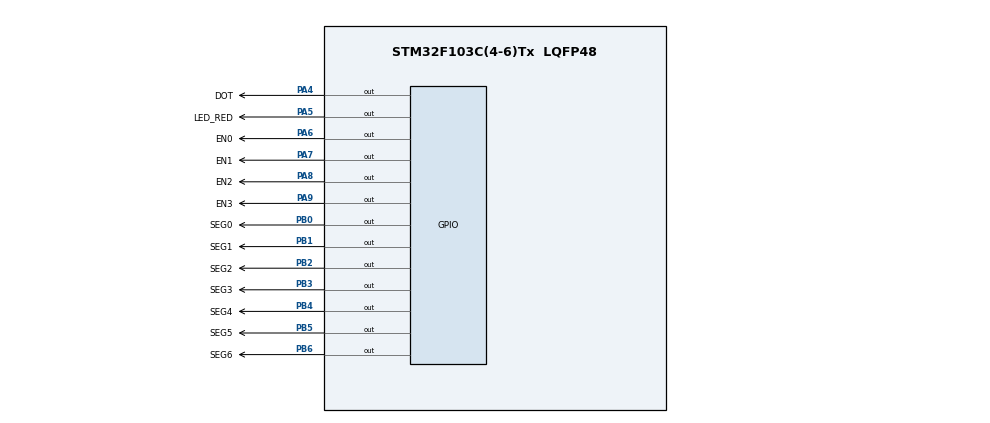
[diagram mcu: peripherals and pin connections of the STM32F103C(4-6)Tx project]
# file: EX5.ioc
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Mcu.Family=STM32F1
Mcu.Name=STM32F103C(4-6)Tx
Mcu.Package=LQFP48
NVIC.PriorityGroup=NVIC_PRIORITYGROUP_4
NVIC.TIM2_IRQn=true\:0\:0\:false\:false\:true\:true\:true\:true
PA4.GPIO_Label=DOT
PA4.Signal=GPIO_Output
PA5.GPIO_Label=LED_RED
PA5.Signal=GPIO_Output
PA6.GPIO_Label=EN0
PA6.Signal=GPIO_Output
PA7.GPIO_Label=EN1
PA7.Signal=GPIO_Output
PA8.GPIO_Label=EN2
PA8.Signal=GPIO_Output
PA9.GPIO_Label=EN3
PA9.Signal=GPIO_Output
PB0.GPIO_Label=SEG0
PB0.Signal=GPIO_Output
PB1.GPIO_Label=SEG1
PB1.Signal=GPIO_Output
PB2.GPIO_Label=SEG2
PB2.Signal=GPIO_Output
PB3.GPIO_Label=SEG3
PB3.Signal=GPIO_Output
PB4.GPIO_Label=SEG4
PB4.Signal=GPIO_Output
PB5.GPIO_Label=SEG5
PB5.Signal=GPIO_Output
PB6.GPIO_Label=SEG6
PB6.Signal=GPIO_Output
ProjectManager.HeapSize=0x200
ProjectManager.StackSize=0x400
ProjectManager.TargetToolchain=STM32CubeIDE
RCC.APB1Freq_Value=8000000
RCC.APB2Freq_Value=8000000
TIM2.Period=9
TIM2.Prescaler=7999
VP_TIM2_VS_ClockSourceINT.Mode=Internal
board=custom

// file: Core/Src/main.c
/* USER CODE BEGIN Header */
/**
  ******************************************************************************
  * @file           : main.c
  * @brief          : Main program body
  ******************************************************************************
  * @attention
  *
  * Copyright (c) 2023 STMicroelectronics.
  * All rights reserved.
  *
  * This software is licensed under terms that can be found in the LICENSE file
  * in the root directory of this software component.
  * If no LICENSE file comes with this software, it is provided AS-IS.
  *
  ******************************************************************************
  */
/* USER CODE END Header */
#include "main.h"

TIM_HandleTypeDef htim2;

void SystemClock_Config(void);
static void MX_GPIO_Init(void);
static void MX_TIM2_Init(void);

/* USER CODE BEGIN 0 */
// Define the pins for each segment (PB0 to PB6)
const uint8_t sevenSegPatterns[10] = {
    0b00111111, // 0
    0b00000110, // 1
    0b01011011, // 2
    0b01001111, // 3
    0b01100110, // 4
    0b01101101, // 5
    0b01111101, // 6
    0b00000111, // 7
    0b01111111, // 8
    0b01101111  // 9
};

void display7SEG(int digit) {
    // Set the appropriate pins based on the digit pattern
    HAL_GPIO_WritePin(GPIOB, GPIO_PIN_0, ((sevenSegPatterns[digit] >> 0) & 1) ^ 1);
    HAL_GPIO_WritePin(GPIOB, GPIO_PIN_1, ((sevenSegPatterns[digit] >> 1) & 1) ^ 1);
    HAL_GPIO_WritePin(GPIOB, GPIO_PIN_2, ((sevenSegPatterns[digit] >> 2) & 1) ^ 1);
    HAL_GPIO_WritePin(GPIOB, GPIO_PIN_3, ((sevenSegPatterns[digit] >> 3) & 1) ^ 1);
    HAL_GPIO_WritePin(GPIOB, GPIO_PIN_4, ((sevenSegPatterns[digit] >> 4) & 1) ^ 1);
    HAL_GPIO_WritePin(GPIOB, GPIO_PIN_5, ((sevenSegPatterns[digit] >> 5) & 1) ^ 1);
    HAL_GPIO_WritePin(GPIOB, GPIO_PIN_6, ((sevenSegPatterns[digit] >> 6) & 1) ^ 1);
}

//EX 3:
const int MAX_LED = 4;
int index_led = 0;
int led_buffer [4] = {1 , 2 , 3 , 4};
void update7SEG (int index){
	switch (index){
	case 0:
		// Display the first 7 SEG with led_buffer [0]
		HAL_GPIO_WritePin(GPIOA, GPIO_PIN_6, 0);
		HAL_GPIO_WritePin(GPIOA, GPIO_PIN_7, 1);
		HAL_GPIO_WritePin(GPIOA, GPIO_PIN_8, 1);
		HAL_GPIO_WritePin(GPIOA, GPIO_PIN_9, 1);
		display7SEG(led_buffer[index]);
		break ;
	case 1:
		// Display the first 7 SEG with led_buffer [1]
		HAL_GPIO_WritePin(GPIOA, GPIO_PIN_6, 1);
		HAL_GPIO_WritePin(GPIOA, GPIO_PIN_7, 0);
		HAL_GPIO_WritePin(GPIOA, GPIO_PIN_8, 1);
		HAL_GPIO_WritePin(GPIOA, GPIO_PIN_9, 1);
		display7SEG(led_buffer[index]);
		break ;
	case 2:
		// Display the first 7 SEG with led_buffer [2]
		HAL_GPIO_WritePin(GPIOA, GPIO_PIN_6, 1);
		HAL_GPIO_WritePin(GPIOA, GPIO_PIN_7, 1);
		HAL_GPIO_WritePin(GPIOA, GPIO_PIN_8, 0);
		HAL_GPIO_WritePin(GPIOA, GPIO_PIN_9, 1);
		display7SEG(led_buffer[index]);
		break ;
	case 3:
		HAL_GPIO_WritePin(GPIOA, GPIO_PIN_6, 1);
		HAL_GPIO_WritePin(GPIOA, GPIO_PIN_7, 1);
		HAL_GPIO_WritePin(GPIOA, GPIO_PIN_8, 1);
		HAL_GPIO_WritePin(GPIOA, GPIO_PIN_9, 0);
		display7SEG(led_buffer[index]);
		// Display the first 7 SEG with led_buffer [3]
		break ;
	default:
		break;
	}
}

//EX5
void updateClockBuffer(){
	led_buffer[0] = hour / 10;
	led_buffer[1] = hour % 10;
	led_buffer[2] = minute / 10;
	led_buffer[3] = minute % 10;
}
/* USER CODE END 0 */

int main(void)
{

  /* MCU Configuration--------------------------------------------------------*/

  /* Reset of all peripherals, Initializes the Flash interface and the Systick. */
  HAL_Init();

  /* Configure the system clock */
  SystemClock_Config();

  /* Initialize all configured peripherals */
  MX_GPIO_Init();
  MX_TIM2_Init();
  /* USER CODE BEGIN 2 */
  HAL_TIM_Base_Start_IT(&htim2);
  /* USER CODE END 2 */

  /* Infinite loop */
  /* USER CODE BEGIN WHILE */
  int hour = 15 , minute = 8 , second = 50;
  while (1)
  {
	  second ++;
	  if ( second >= 60){
		  second = 0;
		  minute ++;
	  }
	  if( minute >= 60){
		  minute = 0;
		  hour ++;
	  }
	  if( hour >=24){
		  hour = 0;
	  }
	  updateClockBuffer();
	  HAL_Delay (1000);
    /* USER CODE END WHILE */

  }
}

void SystemClock_Config(void)
{
  RCC_OscInitTypeDef RCC_OscInitStruct = {0};
  RCC_ClkInitTypeDef RCC_ClkInitStruct = {0};

  /** Initializes the RCC Oscillators according to the specified parameters
  * in the RCC_OscInitTypeDef structure.
  */
  RCC_OscInitStruct.OscillatorType = RCC_OSCILLATORTYPE_HSI;
  RCC_OscInitStruct.HSIState = RCC_HSI_ON;
  RCC_OscInitStruct.HSICalibrationValue = RCC_HSICALIBRATION_DEFAULT;
  RCC_OscInitStruct.PLL.PLLState = RCC_PLL_NONE;
  if (HAL_RCC_OscConfig(&RCC_OscInitStruct) != HAL_OK)
  {
    Error_Handler();
  }

  /** Initializes the CPU, AHB and APB buses clocks
  */
  RCC_ClkInitStruct.ClockType = RCC_CLOCKTYPE_HCLK|RCC_CLOCKTYPE_SYSCLK
                              |RCC_CLOCKTYPE_PCLK1|RCC_CLOCKTYPE_PCLK2;
  RCC_ClkInitStruct.SYSCLKSource = RCC_SYSCLKSOURCE_HSI;
  RCC_ClkInitStruct.AHBCLKDivider = RCC_SYSCLK_DIV1;
  RCC_ClkInitStruct.APB1CLKDivider = RCC_HCLK_DIV1;
  RCC_ClkInitStruct.APB2CLKDivider = RCC_HCLK_DIV1;

  if (HAL_RCC_ClockConfig(&RCC_ClkInitStruct, FLASH_LATENCY_0) != HAL_OK)
  {
    Error_Handler();
  }
}

static void MX_TIM2_Init(void)
{

  TIM_ClockConfigTypeDef sClockSourceConfig = {0};
  TIM_MasterConfigTypeDef sMasterConfig = {0};

  htim2.Instance = TIM2;
  htim2.Init.Prescaler = 7999;
  htim2.Init.CounterMode = TIM_COUNTERMODE_UP;
  htim2.Init.Period = 9;
  htim2.Init.ClockDivision = TIM_CLOCKDIVISION_DIV1;
  htim2.Init.AutoReloadPreload = TIM_AUTORELOAD_PRELOAD_DISABLE;
  if (HAL_TIM_Base_Init(&htim2) != HAL_OK)
  {
    Error_Handler();
  }
  sClockSourceConfig.ClockSource = TIM_CLOCKSOURCE_INTERNAL;
  if (HAL_TIM_ConfigClockSource(&htim2, &sClockSourceConfig) != HAL_OK)
  {
    Error_Handler();
  }
  sMasterConfig.MasterOutputTrigger = TIM_TRGO_RESET;
  sMasterConfig.MasterSlaveMode = TIM_MASTERSLAVEMODE_DISABLE;
  if (HAL_TIMEx_MasterConfigSynchronization(&htim2, &sMasterConfig) != HAL_OK)
  {
    Error_Handler();
  }

}

static void MX_GPIO_Init(void)
{
  GPIO_InitTypeDef GPIO_InitStruct = {0};

  /* GPIO Ports Clock Enable */
  __HAL_RCC_GPIOA_CLK_ENABLE();
  __HAL_RCC_GPIOB_CLK_ENABLE();

  /*Configure GPIO pin Output Level */
  HAL_GPIO_WritePin(GPIOA, DOT_Pin|LED_RED_Pin|EN0_Pin|EN1_Pin
                          |EN2_Pin|EN3_Pin, GPIO_PIN_RESET);

  /*Configure GPIO pin Output Level */
  HAL_GPIO_WritePin(GPIOB, SEG0_Pin|SEG1_Pin|SEG2_Pin|SEG3_Pin
                          |SEG4_Pin|SEG5_Pin|SEG6_Pin, GPIO_PIN_RESET);

  /*Configure GPIO pins : DOT_Pin LED_RED_Pin EN0_Pin EN1_Pin
                           EN2_Pin EN3_Pin */
  GPIO_InitStruct.Pin = DOT_Pin|LED_RED_Pin|EN0_Pin|EN1_Pin
                          |EN2_Pin|EN3_Pin;
  GPIO_InitStruct.Mode = GPIO_MODE_OUTPUT_PP;
  GPIO_InitStruct.Pull = GPIO_NOPULL;
  GPIO_InitStruct.Speed = GPIO_SPEED_FREQ_LOW;
  HAL_GPIO_Init(GPIOA, &GPIO_InitStruct);

  /*Configure GPIO pins : SEG0_Pin SEG1_Pin SEG2_Pin SEG3_Pin
                           SEG4_Pin SEG5_Pin SEG6_Pin */
  GPIO_InitStruct.Pin = SEG0_Pin|SEG1_Pin|SEG2_Pin|SEG3_Pin
                          |SEG4_Pin|SEG5_Pin|SEG6_Pin;
  GPIO_InitStruct.Mode = GPIO_MODE_OUTPUT_PP;
  GPIO_InitStruct.Pull = GPIO_NOPULL;
  GPIO_InitStruct.Speed = GPIO_SPEED_FREQ_LOW;
  HAL_GPIO_Init(GPIOB, &GPIO_InitStruct);

}

/* USER CODE BEGIN 4 */
int counter_DOT = 100;
int counter_SEG = 25;
void HAL_TIM_PeriodElapsedCallback ( TIM_HandleTypeDef * htim ){
	counter_DOT--;
	counter_SEG--;
	if(counter_DOT <= 0){
		counter_DOT = 100;
		HAL_GPIO_TogglePin(DOT_GPIO_Port, DOT_Pin);
	}
	if(counter_SEG <= 0){
		counter_SEG = 25;
		update7SEG(index_led);
		index_led = (index_led + 1) % MAX_LED;
	}
}
/* USER CODE END 4 */

void Error_Handler(void)
{
  __disable_irq();
  while (1)
  {
  }
}
